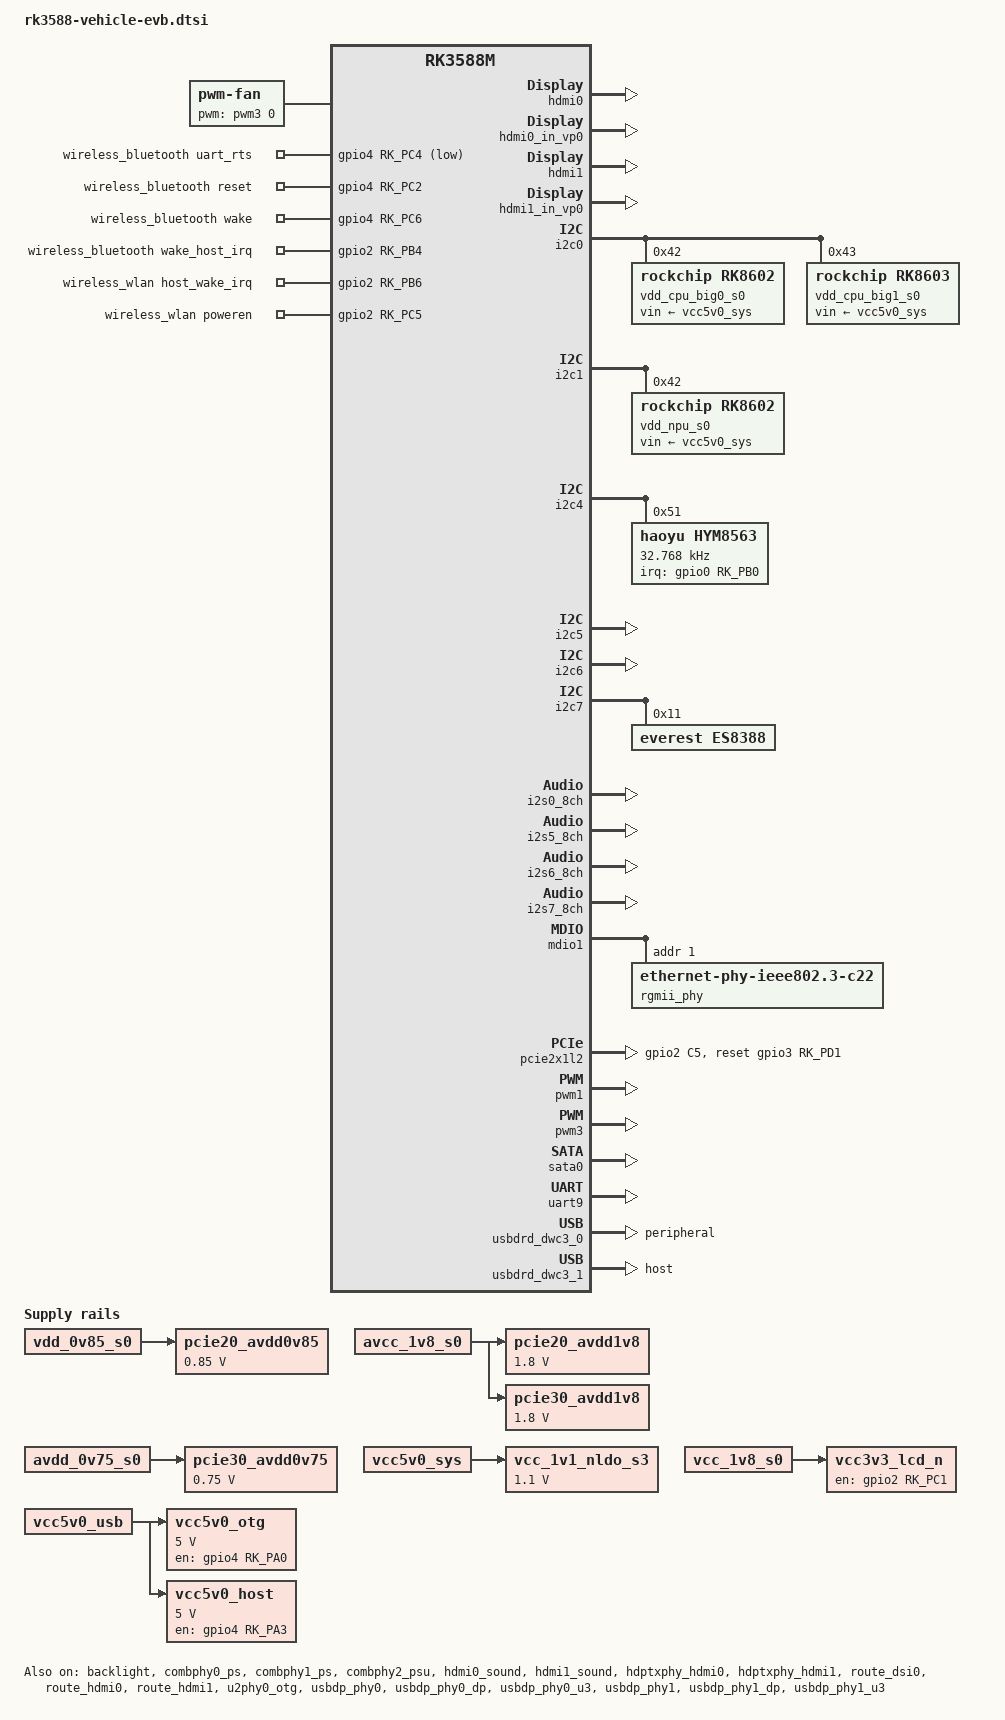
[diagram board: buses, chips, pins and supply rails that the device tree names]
// SPDX-License-Identifier: (GPL-2.0+ OR MIT)
/*
 * Copyright (c) 2021 Rockchip Electronics Co., Ltd.
 *
 */

#include "dt-bindings/usb/pd.h"
#include "rk3588m.dtsi"
#include "rk3588-vehicle.dtsi"
#include "rk3588-rk806-single.dtsi"

/ {
	es8388_sound: es8388-sound {
		status = "disabled";
		compatible = "rockchip,multicodecs-card";
		rockchip,card-name = "rockchip-es8388";
		hp-det-gpio = <&gpio1 RK_PC4 GPIO_ACTIVE_LOW>;
		io-channels = <&saradc 3>;
		io-channel-names = "adc-detect";
		keyup-threshold-microvolt = <1800000>;
		poll-interval = <100>;
		spk-con-gpio = <&gpio4 RK_PA2 GPIO_ACTIVE_HIGH>;
		hp-con-gpio = <&gpio4 RK_PA7 GPIO_ACTIVE_HIGH>;
		rockchip,format = "i2s";
		rockchip,mclk-fs = <256>;
		rockchip,cpu = <&i2s0_8ch>;
		rockchip,codec = <&es8388>;
		rockchip,audio-routing =
			"Headphone", "LOUT1",
			"Headphone", "ROUT1",
			"Speaker", "LOUT2",
			"Speaker", "ROUT2",
			"Headphone", "Headphone Power",
			"Headphone", "Headphone Power",
			"Speaker", "Speaker Power",
			"Speaker", "Speaker Power",
			"LINPUT1", "Main Mic",
			"LINPUT2", "Main Mic",
			"RINPUT1", "Headset Mic",
			"RINPUT2", "Headset Mic";
		pinctrl-names = "default";
		pinctrl-0 = <&hp_det>;
		play-pause-key {
			label = "playpause";
			linux,code = <KEY_PLAYPAUSE>;
			press-threshold-microvolt = <2000>;
		};
	};

	fan: pwm-fan {
		compatible = "pwm-fan";
		#cooling-cells = <2>;
		pwms = <&pwm3 0 50000 0>;
		cooling-levels = <0 50 100 150 200 255>;
		rockchip,temp-trips = <
			50000	1
			55000	2
			60000	3
			65000	4
			70000	5
		>;
	};


	pcie20_avdd0v85: pcie20-avdd0v85 {
		compatible = "regulator-fixed";
		regulator-name = "pcie20_avdd0v85";
		regulator-boot-on;
		regulator-always-on;
		regulator-min-microvolt = <850000>;
		regulator-max-microvolt = <850000>;
		vin-supply = <&vdd_0v85_s0>;
	};

	pcie20_avdd1v8: pcie20-avdd1v8 {
		compatible = "regulator-fixed";
		regulator-name = "pcie20_avdd1v8";
		regulator-boot-on;
		regulator-always-on;
		regulator-min-microvolt = <1800000>;
		regulator-max-microvolt = <1800000>;
		vin-supply = <&avcc_1v8_s0>;
	};

	pcie30_avdd0v75: pcie30-avdd0v75 {
		compatible = "regulator-fixed";
		regulator-name = "pcie30_avdd0v75";
		regulator-boot-on;
		regulator-always-on;
		regulator-min-microvolt = <750000>;
		regulator-max-microvolt = <750000>;
		vin-supply = <&avdd_0v75_s0>;
	};

	pcie30_avdd1v8: pcie30-avdd1v8 {
		compatible = "regulator-fixed";
		regulator-name = "pcie30_avdd1v8";
		regulator-boot-on;
		regulator-always-on;
		regulator-min-microvolt = <1800000>;
		regulator-max-microvolt = <1800000>;
		vin-supply = <&avcc_1v8_s0>;
	};

	sdio_pwrseq: sdio-pwrseq {
		compatible = "mmc-pwrseq-simple";
		clocks = <&hym8563>;
		clock-names = "ext_clock";
		pinctrl-names = "default";
		pinctrl-0 = <&wifi_enable_h>;
		/*
		 * On the module itself this is one of these (depending
		 * on the actual card populated):
		 * - SDIO_RESET_L_WL_REG_ON
		 * - PDN (power down when low)
		 */
		post-power-on-delay-ms = <200>;
		reset-gpios = <&gpio2 RK_PC5 GPIO_ACTIVE_LOW>;
		status = "disabled";
	};

	rk_headset: rk-headset {
		status = "disabled";
		compatible = "rockchip_headset";
		headset_gpio = <&gpio1 RK_PD5 GPIO_ACTIVE_LOW>;
		pinctrl-names = "default";
		pinctrl-0 = <&hp_det>;
		io-channels = <&saradc 3>;
	};


	vcc_1v1_nldo_s3: vcc-1v1-nldo-s3 {
		compatible = "regulator-fixed";
		regulator-name = "vcc_1v1_nldo_s3";
		regulator-always-on;
		regulator-boot-on;
		regulator-min-microvolt = <1100000>;
		regulator-max-microvolt = <1100000>;
		vin-supply = <&vcc5v0_sys>;
	};

	vcc3v3_lcd_n: vcc3v3-lcd0-n {
		compatible = "regulator-fixed";
		regulator-name = "vcc3v3_lcd0_n";
		regulator-boot-on;
		enable-active-high;
		gpio = <&gpio2 RK_PC1 GPIO_ACTIVE_HIGH>;
		vin-supply = <&vcc_1v8_s0>;
	};

	vcc5v0_otg: vcc5v0-otg {
		compatible = "regulator-fixed";
		regulator-name = "vcc5v0_otg";
		regulator-boot-on;
		regulator-always-on;
		regulator-min-microvolt = <5000000>;
		regulator-max-microvolt = <5000000>;
		enable-active-high;
		gpio = <&gpio4 RK_PA0 GPIO_ACTIVE_HIGH>;
		vin-supply = <&vcc5v0_usb>;
		pinctrl-names = "default";
		pinctrl-0 = <&vcc5v0_otg_en>;
	};

	vcc5v0_host: vcc5v0-host {
		compatible = "regulator-fixed";
		regulator-name = "vcc5v0_host";
		regulator-boot-on;
		regulator-always-on;
		regulator-min-microvolt = <5000000>;
		regulator-max-microvolt = <5000000>;
		enable-active-high;
		gpio = <&gpio4 RK_PA3 GPIO_ACTIVE_HIGH>;
		vin-supply = <&vcc5v0_usb>;
		pinctrl-names = "default";
		pinctrl-0 = <&vcc5v0_host_en>;
	};

	wireless_bluetooth: wireless-bluetooth {
		compatible = "bluetooth-platdata";
		clocks = <&hym8563>;
		clock-names = "ext_clock";
		uart_rts_gpios = <&gpio4 RK_PC4 GPIO_ACTIVE_LOW>;
		pinctrl-names = "default", "rts_gpio";
		pinctrl-0 = <&uart9m0_rtsn>, <&bt_reset_gpio>, <&bt_wake_gpio>, <&bt_irq_gpio>;
		pinctrl-1 = <&uart9_gpios>;
		BT,reset_gpio    = <&gpio4 RK_PC2 GPIO_ACTIVE_HIGH>;
		BT,wake_gpio     = <&gpio4 RK_PC6 GPIO_ACTIVE_HIGH>;
		BT,wake_host_irq = <&gpio2 RK_PB4 GPIO_ACTIVE_HIGH>;
		status = "okay";
	};

	wireless_wlan: wireless-wlan {
		compatible = "wlan-platdata";
		wifi_chip_type = "ap6398s";
		pinctrl-names = "default";
		pinctrl-0 = <&wifi_host_wake_irq>;
		WIFI,host_wake_irq = <&gpio2 RK_PB6 GPIO_ACTIVE_HIGH>;
		WIFI,poweren_gpio = <&gpio2 RK_PC5 GPIO_ACTIVE_HIGH>;
		status = "okay";
	};

	dummy_codec: dummy-codec {
		status = "okay";
		compatible = "rockchip,dummy-codec";
		#sound-dai-cells = <0>;
		pinctrl-names = "default";
		pinctrl-0 = <&rk3308_reset>;
	};

	car_rk3308_sound: car-rk3308-sound {
		status = "okay";
		compatible = "simple-audio-card";
		simple-audio-card,name = "rockchip,car-rk3308-sound";
		simple-audio-card,format = "i2s";
		simple-audio-card,mclk-fs = <256>;
		simple-audio-card,bitclock-master = <&codec_master>;
		simple-audio-card,frame-master = <&codec_master>;
		simple-audio-card,cpu {
			sound-dai = <&i2s0_8ch>;
			dai-tdm-slot-num = <8>;
			dai-tdm-slot-width = <32>;
		};
		codec_master: simple-audio-card,codec {
			sound-dai = <&dummy_codec>;
		};
	};
};

&backlight {
	pwms = <&pwm1 0 25000 0>;
	status = "okay";
};

&combphy0_ps {
	status = "okay";
};

&combphy1_ps {
	status = "okay";
};

&combphy2_psu {
	status = "okay";
};

&gmac1 {
	/* Use rgmii-rxid mode to disable rx delay inside Soc */
	phy-mode = "rgmii-rxid";
	clock_in_out = "output";

	snps,reset-gpio = <&gpio3 RK_PB7 GPIO_ACTIVE_LOW>;
	snps,reset-active-low;
	/* Reset time is 20ms, 100ms for rtl8211f */
	snps,reset-delays-us = <0 20000 100000>;

	pinctrl-names = "default";
	pinctrl-0 = <&gmac1_miim
		     &gmac1_tx_bus2
		     &gmac1_rx_bus2
		     &gmac1_rgmii_clk
		     &gmac1_rgmii_bus>;

	tx_delay = <0x43>;
	/* rx_delay = <0x3f>; */

	phy-handle = <&rgmii_phy>;
	status = "disabled";
};

&hdmi0 {
	enable-gpios = <&gpio4 RK_PB1 GPIO_ACTIVE_HIGH>;
	status = "okay";
};

&hdmi0_in_vp0 {
	status = "okay";
};

&hdmi0_sound {
	status = "okay";
};

&hdmi1 {
	enable-gpios = <&gpio4 RK_PB2 GPIO_ACTIVE_HIGH>;
	status = "okay";
};

&hdmi1_in_vp0 {
	status = "okay";
};

&hdmi1_sound {
	status = "okay";
};


&hdptxphy_hdmi0 {
	status = "okay";
};

&hdptxphy_hdmi1 {
	status = "okay";
};

&i2c0 {
	status = "okay";
	pinctrl-names = "default";
	pinctrl-0 = <&i2c0m2_xfer>;

	vdd_cpu_big0_s0: vdd_cpu_big0_mem_s0: rk8602@42 {
		compatible = "rockchip,rk8602";
		reg = <0x42>;
		vin-supply = <&vcc5v0_sys>;
		regulator-compatible = "rk860x-reg";
		regulator-name = "vdd_cpu_big0_s0";
		regulator-min-microvolt = <550000>;
		regulator-max-microvolt = <1050000>;
		regulator-ramp-delay = <2300>;
		rockchip,suspend-voltage-selector = <1>;
		regulator-boot-on;
		regulator-always-on;
		regulator-state-mem {
			regulator-off-in-suspend;
		};
	};

	vdd_cpu_big1_s0: vdd_cpu_big1_mem_s0: rk8603@43 {
		compatible = "rockchip,rk8603";
		reg = <0x43>;
		vin-supply = <&vcc5v0_sys>;
		regulator-compatible = "rk860x-reg";
		regulator-name = "vdd_cpu_big1_s0";
		regulator-min-microvolt = <550000>;
		regulator-max-microvolt = <1050000>;
		regulator-ramp-delay = <2300>;
		rockchip,suspend-voltage-selector = <1>;
		regulator-boot-on;
		regulator-always-on;
		regulator-state-mem {
			regulator-off-in-suspend;
		};
	};
};

&i2c1 {
	status = "okay";
	pinctrl-names = "default";
	pinctrl-0 = <&i2c1m2_xfer>;

	vdd_npu_s0: vdd_npu_mem_s0: rk8602@42 {
		compatible = "rockchip,rk8602";
		reg = <0x42>;
		vin-supply = <&vcc5v0_sys>;
		regulator-compatible = "rk860x-reg";
		regulator-name = "vdd_npu_s0";
		regulator-min-microvolt = <550000>;
		regulator-max-microvolt = <950000>;
		regulator-ramp-delay = <2300>;
		rockchip,suspend-voltage-selector = <1>;
		regulator-boot-on;
		regulator-always-on;
		regulator-state-mem {
			regulator-off-in-suspend;
		};
	};
};

&i2c4 {
	status = "okay";
	pinctrl-0 = <&i2c4m2_xfer>;
	hym8563: hym8563@51 {
		compatible = "haoyu,hym8563";
		reg = <0x51>;
		#clock-cells = <0>;
		clock-frequency = <32768>;
		clock-output-names = "hym8563";
		pinctrl-names = "default";
		pinctrl-0 = <&hym8563_int>;
		interrupt-parent = <&gpio0>;
		interrupts = <RK_PB0 IRQ_TYPE_LEVEL_LOW>;
		wakeup-source;
	};

};

&i2c5 {
	status = "okay";

};

&i2c6 {
	status = "okay";

};

&i2c7 {
	status = "okay";
	es8388: es8388@11 {
		status = "okay";
		#sound-dai-cells = <0>;
		compatible = "everest,es8388", "everest,es8323";
		reg = <0x11>;
		clocks = <&mclkout_i2s0>;
		clock-names = "mclk";
		assigned-clocks = <&mclkout_i2s0>;
		assigned-clock-rates = <12288000>;
		pinctrl-names = "default";
		pinctrl-0 = <&i2s0_mclk>;
	};
};

&i2s0_8ch {
	status = "okay";
	rockchip,tdm-fsync-half-frame;
	pinctrl-names = "default";
	pinctrl-0 = <&i2s0_lrck
		     &i2s0_sclk
		     &i2s0_sdi0
		     &i2s0_sdi1
		     &i2s0_sdo0
		     &i2s0_sdo1
		     &i2s0_sdo2
		     &i2s0_sdo3>;
};

&i2s5_8ch {
	status = "okay";
};

&i2s6_8ch {
	status = "okay";
};

&i2s7_8ch {
	status = "okay";
};

&mdio1 {
	rgmii_phy: phy@1 {
		compatible = "ethernet-phy-ieee802.3-c22";
		reg = <0x1>;
	};
};

&pcie2x1l0 {
	reset-gpios = <&gpio1 RK_PB4 GPIO_ACTIVE_HIGH>;
	status = "disabled";
};

&pcie2x1l2 {
	reset-gpios = <&gpio3 RK_PD1 GPIO_ACTIVE_HIGH>;
	rockchip,skip-scan-in-resume;
	pinctrl-names = "default";
	pinctrl-0 = <&wifi_enable_h>;
	status = "okay";
};

&pcie30phy {
	rockchip,pcie30-phymode = <PHY_MODE_PCIE_AGGREGATION>;
	status = "disabled";
};

&pcie3x4 {
	reset-gpios = <&gpio4 RK_PB3 GPIO_ACTIVE_HIGH>;
	status = "disabled";
};

&pinctrl {
	cam {
		mipicsi0_pwr: mipicsi0-pwr {
			rockchip,pins =
				/* camera power en */
				<1 RK_PD2 RK_FUNC_GPIO &pcfg_pull_none>;
		};
		mipicsi1_pwr: mipicsi1-pwr {
			rockchip,pins =
				/* camera power en */
				<1 RK_PD3 RK_FUNC_GPIO &pcfg_pull_none>;
		};
		mipidcphy0_pwr: mipidcphy0-pwr {
			rockchip,pins =
				/* camera power en */
				<2 RK_PC4 RK_FUNC_GPIO &pcfg_pull_none>;
		};
	};

	headphone {
		hp_det: hp-det {
			rockchip,pins = <1 RK_PC4 RK_FUNC_GPIO &pcfg_pull_none>;
		};
	};

	hym8563 {
		hym8563_int: hym8563-int {
			rockchip,pins = <0 RK_PB0 RK_FUNC_GPIO &pcfg_pull_up>;
		};
	};

	lcd {
		lcd_rst_gpio: lcd-rst-gpio {
			rockchip,pins = <0 RK_PD3 RK_FUNC_GPIO &pcfg_pull_none>;
		};
	};

	sdio-pwrseq {
		wifi_enable_h: wifi-enable-h {
			rockchip,pins = <2 RK_PC5 RK_FUNC_GPIO &pcfg_pull_up>;
		};
	};

	touch {
		touch_gpio: touch-gpio {
			rockchip,pins =
				<3 RK_PC1 RK_FUNC_GPIO &pcfg_pull_down>,
				<3 RK_PC0 RK_FUNC_GPIO &pcfg_pull_up>;
		};
	};

	usb {
		vcc5v0_otg_en: vcc5v0-otg-en {
			rockchip,pins = <4 RK_PA0 RK_FUNC_GPIO &pcfg_pull_none>;
		};

		vcc5v0_host_en: vcc5v0-host-en {
			rockchip,pins = <4 RK_PA3 RK_FUNC_GPIO &pcfg_pull_none>;
		};
	};


	wireless-bluetooth {
		uart9_gpios: uart9-gpios {
			rockchip,pins = <4 RK_PC4 RK_FUNC_GPIO &pcfg_pull_none>;
		};

		bt_reset_gpio: bt-reset-gpio {
			rockchip,pins = <4 RK_PC2 RK_FUNC_GPIO &pcfg_pull_none>;
		};

		bt_wake_gpio: bt-wake-gpio {
			rockchip,pins = <4 RK_PC6 RK_FUNC_GPIO &pcfg_pull_none>;
		};

		bt_irq_gpio: bt-irq-gpio {
			rockchip,pins = <2 RK_PB4 RK_FUNC_GPIO &pcfg_pull_none>;
		};
	};

	wireless-wlan {
		wifi_host_wake_irq: wifi-host-wake-irq {
			rockchip,pins = <2 RK_PB6 RK_FUNC_GPIO &pcfg_pull_down>;
		};
	};

	rk3308 {
		rk3308_reset: rk3308-reset {
			rockchip,pins = <2 RK_PC1 RK_FUNC_GPIO &pcfg_pull_up>;
		};
	};
};

&pwm1 {
	status = "okay";
};

&pwm3 {
	pinctrl-0 = <&pwm3m1_pins>;
	status = "okay";
};

&route_dsi0 {
	status = "okay";
	connect = <&vp3_out_dsi0>;
};

&route_dsi1 {
	status = "disabled";
	connect = <&vp3_out_dsi1>;
};

&route_hdmi0 {
	status = "okay";
};

&route_hdmi1 {
	status = "okay";
};

&sata0 {
	status = "okay";
};

&sdio {
	max-frequency = <150000000>;
	no-sd;
	no-mmc;
	bus-width = <4>;
	disable-wp;
	cap-sd-highspeed;
	cap-sdio-irq;
	keep-power-in-suspend;
	mmc-pwrseq = <&sdio_pwrseq>;
	non-removable;
	pinctrl-names = "default";
	pinctrl-0 = <&sdiom0_pins>;
	sd-uhs-sdr104;
	status = "disabled";
};

&sdmmc {
	status = "disabled";
};

&uart9 {
	status = "okay";
	pinctrl-names = "default";
	pinctrl-0 = <&uart9m0_xfer &uart9m0_ctsn>;
};

&u2phy0_otg {
	status = "okay";
};

&u2phy1_otg {
	phy-supply = <&vcc5v0_otg>;
};

&u2phy2_host {
	phy-supply = <&vcc5v0_otg>;
};

&u2phy3_host {
	phy-supply = <&vcc5v0_host>;
};

&usbdp_phy0 {
	rockchip,dp-lane-mux = <2 3>;
	status = "okay";
};

&usbdp_phy0_dp {
	status = "okay";
};

&usbdp_phy0_u3 {
	status = "okay";
};

&usbdp_phy1 {
	rockchip,dp-lane-mux = <3 2 1 0>;
	status = "okay";
};

&usbdp_phy1_dp {
	status = "okay";
};

&usbdp_phy1_u3 {
	maximum-speed = "high-speed";
	status = "okay";
};

&usbdrd_dwc3_0 {
	dr_mode = "peripheral";
	maximum-speed = "high-speed";
	extcon = <&u2phy0>;
	status = "okay";
};

&usbdrd_dwc3_1 {
	dr_mode = "host";
	maximum-speed = "high-speed";
	snps,dis_u2_susphy_quirk;
	status = "okay";
};
